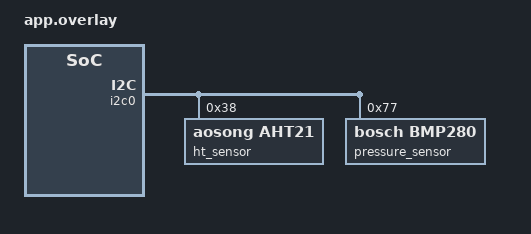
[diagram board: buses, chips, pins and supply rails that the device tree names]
/*
 * Copyright (c) 2023 Russ Webber
 * SPDX-License-Identifier: Apache-2.0
 */

&i2c0 {
	ht_sensor: aht20@38 {
		compatible = "aosong,aht21";
		reg = <0x38>;
	};

	pressure_sensor: bmp280@77 {
		compatible = "bosch,bmp280";
		reg = <0x77>;
		osr-temperature = <16>;
		osr-pressure = <16>;
	};
};
